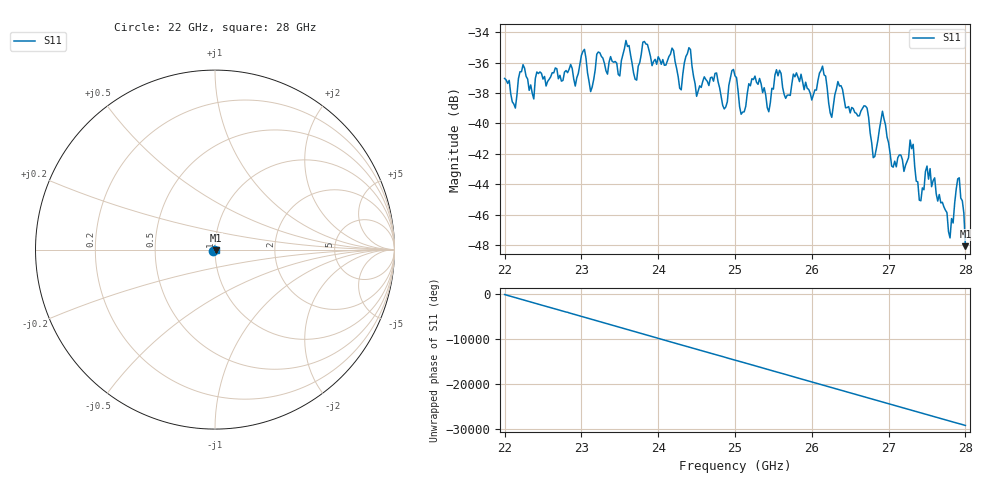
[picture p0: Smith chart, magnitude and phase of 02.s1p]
#  HZ  S  RI  R  50.00
! Rohde & Schwarz ZVA40 4Ports - Version 3.90 - 1145.1110k42 SN: 100403
! Date: 2023-10-04 10:15:42
! Measurement: S12
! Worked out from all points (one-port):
!   301 points, 22 GHz to 28 GHz, reference 50 ohm
!   lowest |S11| = -48.1 dB at 28 GHz (marker M1), VSWR 1.01, Z = 50.3 - j0.234 ohm
!   |S11| at or under -10 dB: start of sweep to end of sweep
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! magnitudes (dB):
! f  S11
! 22 GHz  -37.0
! 22.14 GHz  -39.0
! 22.24 GHz  -36.1
! 22.38 GHz  -38.4
! 22.76 GHz  -37.2
! 23.04 GHz  -35.1
! 23.12 GHz  -37.9
! 23.22 GHz  -35.3
! 23.5 GHz  -36.9
! 23.58 GHz  -34.5
! 23.7 GHz  -37.1
! 23.82 GHz  -34.6
! 24.26 GHz  -36.9
! 24.4 GHz  -35.0
! 24.5 GHz  -38.2
! 24.76 GHz  -36.7
! 24.86 GHz  -39.0
! 25 GHz  -36.9
! 25.08 GHz  -39.4
! 25.76 GHz  -36.7
! 26.5 GHz  -39.3
! 27.26 GHz  -42.3
! 27.32 GHz  -41.4
! 27.4 GHz  -45.1
! 27.54 GHz  -43.0
! 27.8 GHz  -47.5
! 27.92 GHz  -43.6
! 28 GHz  -48.1
